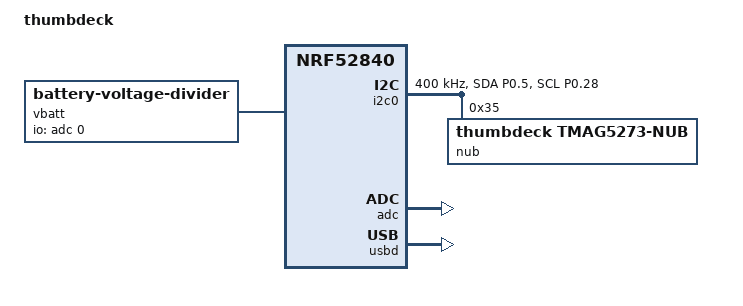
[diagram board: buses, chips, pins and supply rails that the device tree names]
/*
 * SPDX-License-Identifier: Apache-2.0
 * Copyright 2026 Eric Neuman
 */

/*
 * thumbdeck.dts — ZMK board for the bare Ebyte E73-2G4M08S1C (nRF52840) soldered
 * directly to the thumbdeck PCB. Flash partitions copied VERBATIM from nice!nano v2
 * (Adafruit nRF52840 UF2 bootloader layout: SoftDevice @0x0, app @0x26000, settings
 * storage @0xec000, bootloader @0xf4000) so the Adafruit bootloader (flashed once
 * over SWD) works drag-and-drop after.
 * The matrix (kscan + transform) is in the GENERATED thumbdeck.dtsi. High-voltage
 * power mode: the cell drives VDDH; VDD is the internal REG0 3.3V output.
 *   >>> VALIDATE WITH THE ZMK GITHUB-ACTIONS BUILD before trusting for fab. <<<
 */
/dts-v1/;
#include <nordic/nrf52840_qiaa.dtsi>
#include <zephyr/dt-bindings/input/input-event-codes.h>
#include "thumbdeck.dtsi"

/ {
    model = "thumbdeck";
    compatible = "thumbdeck";

    chosen {
        zephyr,code-partition = &code_partition;
        zephyr,sram = &sram0;
        zephyr,flash = &flash0;
        zmk,battery = &vbatt;
    };

    /* battery sense: 1M/1M divider on P0.02/AIN0 (E73 pin 7 = VBAT_SENSE) */
    vbatt: vbatt {
        compatible = "zmk,battery-voltage-divider";
        io-channels = <&adc 0>;
        output-ohms = <1000000>;
        full-ohms = <2000000>;
    };

    /* v0.21 (Bean-style hall nub): the pointing nub's input listener — the
     * sensor itself lives on &i2c0 below. Rate-control pointing: the driver
     * (firmware/zmk-modules/tmag5273_nub) maps magnet deflection to cursor
     * VELOCITY, ThinkPad-style. */
    nub_listener: nub_listener {
        compatible = "zmk,input-listener";
        device = <&nub>;
    };
};

/* Spare-I2C pads finally used for what they were reserved for: SDA = E73 pad
 * 15 (P0.05), SCL = pad 4 (P0.28). TWIM0. The TMAG5273's INT (pad 8/P0.29)
 * is wired on the board but the driver polls; INT stays available. */
&pinctrl {
    i2c0_default: i2c0_default {
        group1 {
            psels = <NRF_PSEL(TWIM_SDA, 0, 5)>,
                    <NRF_PSEL(TWIM_SCL, 0, 28)>;
        };
    };
    i2c0_sleep: i2c0_sleep {
        group1 {
            psels = <NRF_PSEL(TWIM_SDA, 0, 5)>,
                    <NRF_PSEL(TWIM_SCL, 0, 28)>;
            low-power-enable;
        };
    };
};

&i2c0 {
    compatible = "nordic,nrf-twim";
    status = "okay";
    clock-frequency = <I2C_BITRATE_FAST>;
    pinctrl-0 = <&i2c0_default>;
    pinctrl-1 = <&i2c0_sleep>;
    pinctrl-names = "default", "sleep";

    nub: tmag5273@35 {
        compatible = "thumbdeck,tmag5273-nub";
        reg = <0x35>;
        sampling-hz = <100>;
        deadzone = <150>;
        gain-num = <1>;
        gain-div = <3500>;
        max-out = <12>;
        calib-samples = <32>;
        /* axis orientation is a first-article calibration: flip/swap here */
    };
};

&adc { status = "okay"; };
&gpiote { status = "okay"; };
&gpio0 { status = "okay"; };
&gpio1 { status = "okay"; };
&usbd { status = "okay"; };

/* nice!nano v2 / Adafruit nRF52840 bootloader flash layout (labels mirror
 * zmk/app/boards/arm/nice_nano/nice_nano.dtsi at v0.3.0). CONFIG_USE_DT_CODE_PARTITION
 * links the app at &code_partition (0x26000), after the S140 SoftDevice. */
&flash0 {
    partitions {
        compatible = "fixed-partitions";
        #address-cells = <1>;
        #size-cells = <1>;

        sd_partition: partition@0 {
            reg = <0x00000000 0x00026000>;
        };
        code_partition: partition@26000 {
            reg = <0x00026000 0x000c6000>;
        };

        storage_partition: partition@ec000 {
            reg = <0x000ec000 0x00008000>;
        };

        boot_partition: partition@f4000 {
            reg = <0x000f4000 0x0000c000>;
        };
    };
};
